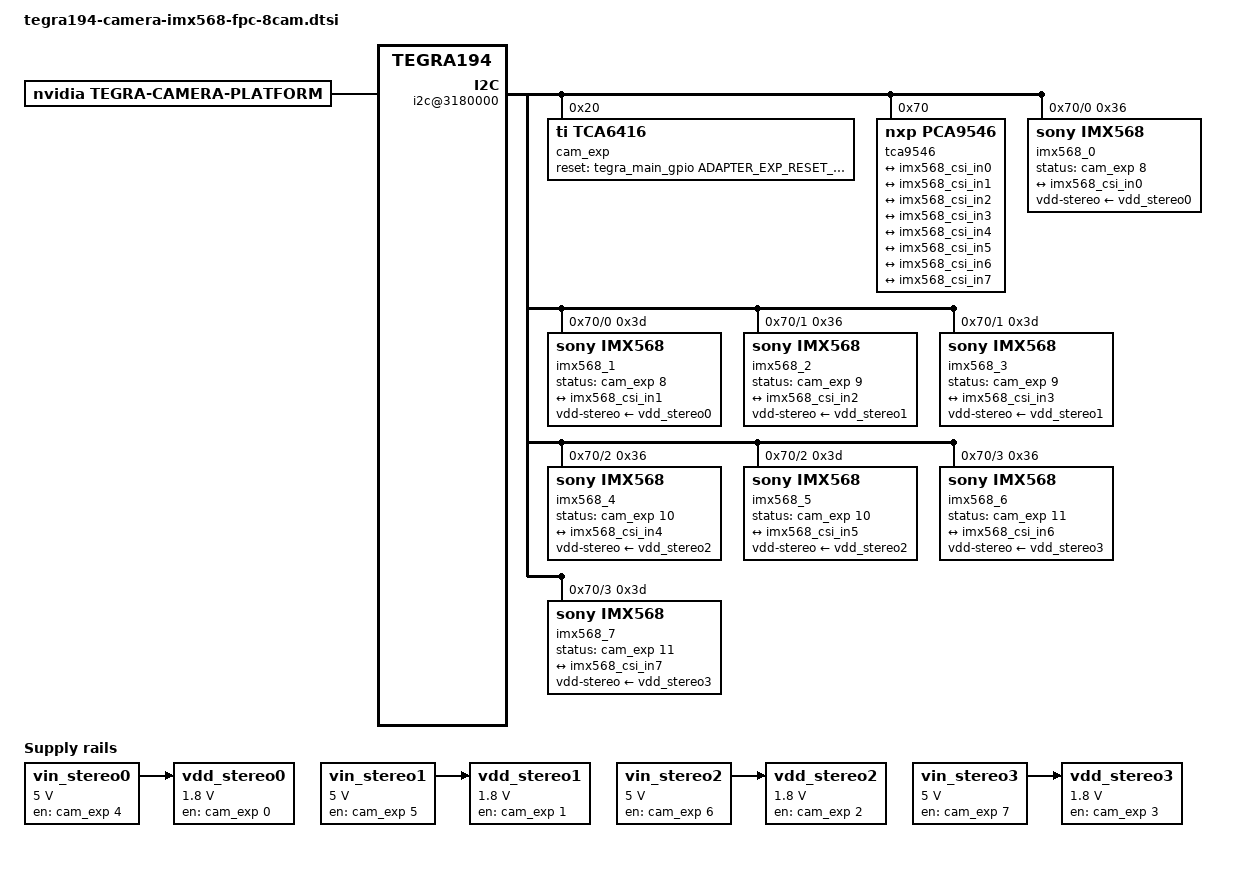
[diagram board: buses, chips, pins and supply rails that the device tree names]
/*
 * tegra194-camera-imx568-fpc-8cam.dtsi  -- GENERATED by gen_dtsi_fpc.py
 *
 * 8 x IMX568 = 4 stereo boards on FPC, Jetson AGX Xavier (L4T R35.x).
 * Include from your board .dts (e.g. tegra194-p2888-0001-p2822-0000.dts):
 *     #include "tegra194-camera-imx568-fpc-8cam.dtsi"
 * and disable other camera overlays that use i2c@3180000 / nvcsi.
 */
#include <dt-bindings/gpio/gpio.h>
#include <dt-bindings/gpio/tegra194-gpio.h>

/* Xavier GPIO on connector pin 92 (CAM1_RST) -> TCA6416A RESET#.
 * VERIFY the Tegra GPIO behind CAM1_RST in the devkit carrier spec / pinmux. */
#ifndef ADAPTER_EXP_RESET_GPIO
#define ADAPTER_EXP_RESET_GPIO TEGRA194_MAIN_GPIO(H, 6)
#endif

/ {
	vin_stereo0: regulator-vin-stereo0 {	/* 5 V to FPC 0: FPGA + board supplies */
		compatible = "regulator-fixed";
		regulator-name = "vin-stereo0";
		regulator-min-microvolt = <5000000>;
		regulator-max-microvolt = <5000000>;
		gpio = <&cam_exp 4 GPIO_ACTIVE_HIGH>;	/* TCA6416A P04 */
		enable-active-high;
		regulator-boot-on;
		regulator-always-on;			/* FPGA stays configured */
		startup-delay-us = <50000>;		/* FPGA config from SPI flash */
	};

	vdd_stereo0: regulator-vdd-stereo0 {	/* PWR_EN: FPGA sequences both sensors */
		compatible = "regulator-fixed";
		regulator-name = "vdd-stereo0";
		regulator-min-microvolt = <1800000>;
		regulator-max-microvolt = <1800000>;
		gpio = <&cam_exp 0 GPIO_ACTIVE_HIGH>;	/* TCA6416A P00 */
		enable-active-high;
		vin-supply = <&vin_stereo0>;
		startup-delay-us = <25000>;		/* 3 x 2 ms rails + 5 ms + XCLR/INCK + margin */
		off-on-delay-us = <20000>;		/* ordered power-down (stereo_ctrl.v) */
	};
	vin_stereo1: regulator-vin-stereo1 {	/* 5 V to FPC 1: FPGA + board supplies */
		compatible = "regulator-fixed";
		regulator-name = "vin-stereo1";
		regulator-min-microvolt = <5000000>;
		regulator-max-microvolt = <5000000>;
		gpio = <&cam_exp 5 GPIO_ACTIVE_HIGH>;	/* TCA6416A P05 */
		enable-active-high;
		regulator-boot-on;
		regulator-always-on;			/* FPGA stays configured */
		startup-delay-us = <50000>;		/* FPGA config from SPI flash */
	};

	vdd_stereo1: regulator-vdd-stereo1 {	/* PWR_EN: FPGA sequences both sensors */
		compatible = "regulator-fixed";
		regulator-name = "vdd-stereo1";
		regulator-min-microvolt = <1800000>;
		regulator-max-microvolt = <1800000>;
		gpio = <&cam_exp 1 GPIO_ACTIVE_HIGH>;	/* TCA6416A P01 */
		enable-active-high;
		vin-supply = <&vin_stereo1>;
		startup-delay-us = <25000>;		/* 3 x 2 ms rails + 5 ms + XCLR/INCK + margin */
		off-on-delay-us = <20000>;		/* ordered power-down (stereo_ctrl.v) */
	};
	vin_stereo2: regulator-vin-stereo2 {	/* 5 V to FPC 2: FPGA + board supplies */
		compatible = "regulator-fixed";
		regulator-name = "vin-stereo2";
		regulator-min-microvolt = <5000000>;
		regulator-max-microvolt = <5000000>;
		gpio = <&cam_exp 6 GPIO_ACTIVE_HIGH>;	/* TCA6416A P06 */
		enable-active-high;
		regulator-boot-on;
		regulator-always-on;			/* FPGA stays configured */
		startup-delay-us = <50000>;		/* FPGA config from SPI flash */
	};

	vdd_stereo2: regulator-vdd-stereo2 {	/* PWR_EN: FPGA sequences both sensors */
		compatible = "regulator-fixed";
		regulator-name = "vdd-stereo2";
		regulator-min-microvolt = <1800000>;
		regulator-max-microvolt = <1800000>;
		gpio = <&cam_exp 2 GPIO_ACTIVE_HIGH>;	/* TCA6416A P02 */
		enable-active-high;
		vin-supply = <&vin_stereo2>;
		startup-delay-us = <25000>;		/* 3 x 2 ms rails + 5 ms + XCLR/INCK + margin */
		off-on-delay-us = <20000>;		/* ordered power-down (stereo_ctrl.v) */
	};
	vin_stereo3: regulator-vin-stereo3 {	/* 5 V to FPC 3: FPGA + board supplies */
		compatible = "regulator-fixed";
		regulator-name = "vin-stereo3";
		regulator-min-microvolt = <5000000>;
		regulator-max-microvolt = <5000000>;
		gpio = <&cam_exp 7 GPIO_ACTIVE_HIGH>;	/* TCA6416A P07 */
		enable-active-high;
		regulator-boot-on;
		regulator-always-on;			/* FPGA stays configured */
		startup-delay-us = <50000>;		/* FPGA config from SPI flash */
	};

	vdd_stereo3: regulator-vdd-stereo3 {	/* PWR_EN: FPGA sequences both sensors */
		compatible = "regulator-fixed";
		regulator-name = "vdd-stereo3";
		regulator-min-microvolt = <1800000>;
		regulator-max-microvolt = <1800000>;
		gpio = <&cam_exp 3 GPIO_ACTIVE_HIGH>;	/* TCA6416A P03 */
		enable-active-high;
		vin-supply = <&vin_stereo3>;
		startup-delay-us = <25000>;		/* 3 x 2 ms rails + 5 ms + XCLR/INCK + margin */
		off-on-delay-us = <20000>;		/* ordered power-down (stereo_ctrl.v) */
	};

	tegra-capture-vi {
		num-channels = <8>;
		ports {
			#address-cells = <1>;
			#size-cells = <0>;
			port@0 {
				reg = <0>;
				imx568_vi_in0: endpoint {
					vc-id = <0>;
					port-index = <0>;
					bus-width = <4>;
					remote-endpoint = <&imx568_csi_out0>;
				};
			};
			port@1 {
				reg = <1>;
				imx568_vi_in1: endpoint {
					vc-id = <1>;
					port-index = <0>;
					bus-width = <4>;
					remote-endpoint = <&imx568_csi_out1>;
				};
			};
			port@2 {
				reg = <2>;
				imx568_vi_in2: endpoint {
					vc-id = <0>;
					port-index = <2>;
					bus-width = <4>;
					remote-endpoint = <&imx568_csi_out2>;
				};
			};
			port@3 {
				reg = <3>;
				imx568_vi_in3: endpoint {
					vc-id = <1>;
					port-index = <2>;
					bus-width = <4>;
					remote-endpoint = <&imx568_csi_out3>;
				};
			};
			port@4 {
				reg = <4>;
				imx568_vi_in4: endpoint {
					vc-id = <0>;
					port-index = <4>;
					bus-width = <4>;
					remote-endpoint = <&imx568_csi_out4>;
				};
			};
			port@5 {
				reg = <5>;
				imx568_vi_in5: endpoint {
					vc-id = <1>;
					port-index = <4>;
					bus-width = <4>;
					remote-endpoint = <&imx568_csi_out5>;
				};
			};
			port@6 {
				reg = <6>;
				imx568_vi_in6: endpoint {
					vc-id = <0>;
					port-index = <5>;
					bus-width = <4>;
					remote-endpoint = <&imx568_csi_out6>;
				};
			};
			port@7 {
				reg = <7>;
				imx568_vi_in7: endpoint {
					vc-id = <1>;
					port-index = <5>;
					bus-width = <4>;
					remote-endpoint = <&imx568_csi_out7>;
				};
			};
		};
	};

	host1x@13e00000 {
		nvcsi@15a00000 {
			num-channels = <8>;
			#address-cells = <1>;
			#size-cells = <0>;
			channel@0 {
				reg = <0>;
				ports {
					#address-cells = <1>;
					#size-cells = <0>;
					port@0 {
						reg = <0>;
						imx568_csi_in0: endpoint@0 {
							port-index = <0>;
							bus-width = <4>;
							remote-endpoint = <&imx568_out0>;
						};
					};
					port@1 {
						reg = <1>;
						imx568_csi_out0: endpoint@1 {
							remote-endpoint = <&imx568_vi_in0>;
						};
					};
				};
			};
			channel@1 {
				reg = <1>;
				ports {
					#address-cells = <1>;
					#size-cells = <0>;
					port@0 {
						reg = <0>;
						imx568_csi_in1: endpoint@2 {
							port-index = <0>;
							bus-width = <4>;
							remote-endpoint = <&imx568_out1>;
						};
					};
					port@1 {
						reg = <1>;
						imx568_csi_out1: endpoint@3 {
							remote-endpoint = <&imx568_vi_in1>;
						};
					};
				};
			};
			channel@2 {
				reg = <2>;
				ports {
					#address-cells = <1>;
					#size-cells = <0>;
					port@0 {
						reg = <0>;
						imx568_csi_in2: endpoint@4 {
							port-index = <2>;
							bus-width = <4>;
							remote-endpoint = <&imx568_out2>;
						};
					};
					port@1 {
						reg = <1>;
						imx568_csi_out2: endpoint@5 {
							remote-endpoint = <&imx568_vi_in2>;
						};
					};
				};
			};
			channel@3 {
				reg = <3>;
				ports {
					#address-cells = <1>;
					#size-cells = <0>;
					port@0 {
						reg = <0>;
						imx568_csi_in3: endpoint@6 {
							port-index = <2>;
							bus-width = <4>;
							remote-endpoint = <&imx568_out3>;
						};
					};
					port@1 {
						reg = <1>;
						imx568_csi_out3: endpoint@7 {
							remote-endpoint = <&imx568_vi_in3>;
						};
					};
				};
			};
			channel@4 {
				reg = <4>;
				ports {
					#address-cells = <1>;
					#size-cells = <0>;
					port@0 {
						reg = <0>;
						imx568_csi_in4: endpoint@8 {
							port-index = <4>;
							bus-width = <4>;
							remote-endpoint = <&imx568_out4>;
						};
					};
					port@1 {
						reg = <1>;
						imx568_csi_out4: endpoint@9 {
							remote-endpoint = <&imx568_vi_in4>;
						};
					};
				};
			};
			channel@5 {
				reg = <5>;
				ports {
					#address-cells = <1>;
					#size-cells = <0>;
					port@0 {
						reg = <0>;
						imx568_csi_in5: endpoint@10 {
							port-index = <4>;
							bus-width = <4>;
							remote-endpoint = <&imx568_out5>;
						};
					};
					port@1 {
						reg = <1>;
						imx568_csi_out5: endpoint@11 {
							remote-endpoint = <&imx568_vi_in5>;
						};
					};
				};
			};
			channel@6 {
				reg = <6>;
				ports {
					#address-cells = <1>;
					#size-cells = <0>;
					port@0 {
						reg = <0>;
						imx568_csi_in6: endpoint@12 {
							port-index = <6>;
							bus-width = <4>;
							remote-endpoint = <&imx568_out6>;
						};
					};
					port@1 {
						reg = <1>;
						imx568_csi_out6: endpoint@13 {
							remote-endpoint = <&imx568_vi_in6>;
						};
					};
				};
			};
			channel@7 {
				reg = <7>;
				ports {
					#address-cells = <1>;
					#size-cells = <0>;
					port@0 {
						reg = <0>;
						imx568_csi_in7: endpoint@14 {
							port-index = <6>;
							bus-width = <4>;
							remote-endpoint = <&imx568_out7>;
						};
					};
					port@1 {
						reg = <1>;
						imx568_csi_out7: endpoint@15 {
							remote-endpoint = <&imx568_vi_in7>;
						};
					};
				};
			};
		};
	};

	i2c@3180000 {			/* I2C_GP3 on the camera connector (pins 75/77) */
		cam_exp: gpio@20 {
			compatible = "ti,tca6416";
			reg = <0x20>;
			gpio-controller;
			#gpio-cells = <2>;
			reset-gpios = <&tegra_main_gpio ADAPTER_EXP_RESET_GPIO GPIO_ACTIVE_LOW>;
		};

		tca9546@70 {
			compatible = "nxp,pca9546";
			reg = <0x70>;
			#address-cells = <1>;
			#size-cells = <0>;
			skip_mux_detect = "yes";
			force_bus_start = <30>;	/* mux channels become i2c-30..33 */

		i2c@0 {	/* FPC 0: stereo 0 (front) */
			reg = <0>;
			i2c-mux,deselect-on-exit;
			#address-cells = <1>;
			#size-cells = <0>;

			imx568_0: imx568_l@36 {	/* stereo 0 left */
				compatible = "sony,imx568";
				reg = <0x36>;		/* SLAMODE = 0 (DS 14.4); never use 0x1a here */
				devnode = "video0";
				physical_w = "6.708";
				physical_h = "5.612";
				sensor_model = "imx568";
				use_sensor_mode_id = "true";
				post_crop_frame_drop = "0";
				vdd-stereo-supply = <&vdd_stereo0>;	/* shared with the other sensor */
				status-gpios = <&cam_exp 8 GPIO_ACTIVE_HIGH>;	/* TCA6416A P10 */
				imx568,ready-timeout-ms = <200>;
				imx568,sync-mode = "fast-trigger";	/* or "master" for bring-up */

				mode0 {	/* 1224x1024 RAW12 (mono, read as Y12) */
					mclk_khz = "74250";
					num_lanes = "4";
					tegra_sinterface = "serial_a";
					vc_id = "0";
					discontinuous_clk = "no";
					dpcm_enable = "false";
					cil_settletime = "0";
					dynamic_pixel_bit_depth = "12";
					csi_pixel_bit_depth = "12";
					mode_type = "bayer";
					pixel_phase = "rggb";	/* mono sensor: no CFA, ISP not used */
					active_w = "1224";
					active_h = "1024";
					readout_orientation = "0";
					line_length = "2400";	/* 4 x HMAX: 1H = line_length / pix_clk_hz */
					inherent_gain = "1";
					pix_clk_hz = "297000000";	/* 4 x 74.25 MHz, >= peak pixel rate */
					gain_factor = "10";
					min_gain_val = "0";
					max_gain_val = "480";	/* 48.0 dB */
					step_gain_val = "1";
					default_gain = "0";
					min_hdr_ratio = "1";
					max_hdr_ratio = "1";
					framerate_factor = "1000000";
					min_framerate = "1000000";
					max_framerate = "60000000";
					step_framerate = "1";
					default_framerate = "30000000";
					exposure_factor = "1000000";
					min_exp_time = "10";
					max_exp_time = "15000";
					step_exp_time = "1";
					default_exp_time = "5000";
					embedded_metadata_height = "0";
				};
				mode1 {	/* 2448x2048 RAW12 (mono, read as Y12) */
					mclk_khz = "74250";
					num_lanes = "4";
					tegra_sinterface = "serial_a";
					vc_id = "0";
					discontinuous_clk = "no";
					dpcm_enable = "false";
					cil_settletime = "0";
					dynamic_pixel_bit_depth = "12";
					csi_pixel_bit_depth = "12";
					mode_type = "bayer";
					pixel_phase = "rggb";	/* mono sensor: no CFA, ISP not used */
					active_w = "2448";
					active_h = "2048";
					readout_orientation = "0";
					line_length = "4400";	/* 4 x HMAX: 1H = line_length / pix_clk_hz */
					inherent_gain = "1";
					pix_clk_hz = "297000000";	/* 4 x 74.25 MHz, >= peak pixel rate */
					gain_factor = "10";
					min_gain_val = "0";
					max_gain_val = "480";	/* 48.0 dB */
					step_gain_val = "1";
					default_gain = "0";
					min_hdr_ratio = "1";
					max_hdr_ratio = "1";
					framerate_factor = "1000000";
					min_framerate = "1000000";
					max_framerate = "30000000";
					step_framerate = "1";
					default_framerate = "30000000";
					exposure_factor = "1000000";
					min_exp_time = "10";
					max_exp_time = "30000";
					step_exp_time = "1";
					default_exp_time = "5000";
					embedded_metadata_height = "0";
				};

				ports {
					#address-cells = <1>;
					#size-cells = <0>;
					port@0 {
						reg = <0>;
						imx568_out0: endpoint {
							vc-id = <0>;		/* set by the FPGA aggregator */
							port-index = <0>;
							bus-width = <4>;
							remote-endpoint = <&imx568_csi_in0>;
						};
					};
				};
			};

			imx568_1: imx568_r@3d {	/* stereo 0 right */
				compatible = "sony,imx568";
				reg = <0x3d>;		/* SLAMODE = 7 (DS 14.4); never use 0x1a here */
				devnode = "video1";
				physical_w = "6.708";
				physical_h = "5.612";
				sensor_model = "imx568";
				use_sensor_mode_id = "true";
				post_crop_frame_drop = "0";
				vdd-stereo-supply = <&vdd_stereo0>;	/* shared with the other sensor */
				status-gpios = <&cam_exp 8 GPIO_ACTIVE_HIGH>;	/* TCA6416A P10 */
				imx568,ready-timeout-ms = <200>;
				imx568,sync-mode = "fast-trigger";	/* or "master" for bring-up */

				mode0 {	/* 1224x1024 RAW12 (mono, read as Y12) */
					mclk_khz = "74250";
					num_lanes = "4";
					tegra_sinterface = "serial_a";
					vc_id = "1";
					discontinuous_clk = "no";
					dpcm_enable = "false";
					cil_settletime = "0";
					dynamic_pixel_bit_depth = "12";
					csi_pixel_bit_depth = "12";
					mode_type = "bayer";
					pixel_phase = "rggb";	/* mono sensor: no CFA, ISP not used */
					active_w = "1224";
					active_h = "1024";
					readout_orientation = "0";
					line_length = "2400";	/* 4 x HMAX: 1H = line_length / pix_clk_hz */
					inherent_gain = "1";
					pix_clk_hz = "297000000";	/* 4 x 74.25 MHz, >= peak pixel rate */
					gain_factor = "10";
					min_gain_val = "0";
					max_gain_val = "480";	/* 48.0 dB */
					step_gain_val = "1";
					default_gain = "0";
					min_hdr_ratio = "1";
					max_hdr_ratio = "1";
					framerate_factor = "1000000";
					min_framerate = "1000000";
					max_framerate = "60000000";
					step_framerate = "1";
					default_framerate = "30000000";
					exposure_factor = "1000000";
					min_exp_time = "10";
					max_exp_time = "15000";
					step_exp_time = "1";
					default_exp_time = "5000";
					embedded_metadata_height = "0";
				};
				mode1 {	/* 2448x2048 RAW12 (mono, read as Y12) */
					mclk_khz = "74250";
					num_lanes = "4";
					tegra_sinterface = "serial_a";
					vc_id = "1";
					discontinuous_clk = "no";
					dpcm_enable = "false";
					cil_settletime = "0";
					dynamic_pixel_bit_depth = "12";
					csi_pixel_bit_depth = "12";
					mode_type = "bayer";
					pixel_phase = "rggb";	/* mono sensor: no CFA, ISP not used */
					active_w = "2448";
					active_h = "2048";
					readout_orientation = "0";
					line_length = "4400";	/* 4 x HMAX: 1H = line_length / pix_clk_hz */
					inherent_gain = "1";
					pix_clk_hz = "297000000";	/* 4 x 74.25 MHz, >= peak pixel rate */
					gain_factor = "10";
					min_gain_val = "0";
					max_gain_val = "480";	/* 48.0 dB */
					step_gain_val = "1";
					default_gain = "0";
					min_hdr_ratio = "1";
					max_hdr_ratio = "1";
					framerate_factor = "1000000";
					min_framerate = "1000000";
					max_framerate = "30000000";
					step_framerate = "1";
					default_framerate = "30000000";
					exposure_factor = "1000000";
					min_exp_time = "10";
					max_exp_time = "30000";
					step_exp_time = "1";
					default_exp_time = "5000";
					embedded_metadata_height = "0";
				};

				ports {
					#address-cells = <1>;
					#size-cells = <0>;
					port@0 {
						reg = <0>;
						imx568_out1: endpoint {
							vc-id = <1>;		/* set by the FPGA aggregator */
							port-index = <0>;
							bus-width = <4>;
							remote-endpoint = <&imx568_csi_in1>;
						};
					};
				};
			};
		};
		i2c@1 {	/* FPC 1: stereo 1 (rear) */
			reg = <1>;
			i2c-mux,deselect-on-exit;
			#address-cells = <1>;
			#size-cells = <0>;

			imx568_2: imx568_l@36 {	/* stereo 1 left */
				compatible = "sony,imx568";
				reg = <0x36>;		/* SLAMODE = 0 (DS 14.4); never use 0x1a here */
				devnode = "video2";
				physical_w = "6.708";
				physical_h = "5.612";
				sensor_model = "imx568";
				use_sensor_mode_id = "true";
				post_crop_frame_drop = "0";
				vdd-stereo-supply = <&vdd_stereo1>;	/* shared with the other sensor */
				status-gpios = <&cam_exp 9 GPIO_ACTIVE_HIGH>;	/* TCA6416A P11 */
				imx568,ready-timeout-ms = <200>;
				imx568,sync-mode = "fast-trigger";	/* or "master" for bring-up */

				mode0 {	/* 1224x1024 RAW12 (mono, read as Y12) */
					mclk_khz = "74250";
					num_lanes = "4";
					tegra_sinterface = "serial_c";
					vc_id = "0";
					discontinuous_clk = "no";
					dpcm_enable = "false";
					cil_settletime = "0";
					dynamic_pixel_bit_depth = "12";
					csi_pixel_bit_depth = "12";
					mode_type = "bayer";
					pixel_phase = "rggb";	/* mono sensor: no CFA, ISP not used */
					active_w = "1224";
					active_h = "1024";
					readout_orientation = "0";
					line_length = "2400";	/* 4 x HMAX: 1H = line_length / pix_clk_hz */
					inherent_gain = "1";
					pix_clk_hz = "297000000";	/* 4 x 74.25 MHz, >= peak pixel rate */
					gain_factor = "10";
					min_gain_val = "0";
					max_gain_val = "480";	/* 48.0 dB */
					step_gain_val = "1";
					default_gain = "0";
					min_hdr_ratio = "1";
					max_hdr_ratio = "1";
					framerate_factor = "1000000";
					min_framerate = "1000000";
					max_framerate = "60000000";
					step_framerate = "1";
					default_framerate = "30000000";
					exposure_factor = "1000000";
					min_exp_time = "10";
					max_exp_time = "15000";
					step_exp_time = "1";
					default_exp_time = "5000";
					embedded_metadata_height = "0";
				};
				mode1 {	/* 2448x2048 RAW12 (mono, read as Y12) */
					mclk_khz = "74250";
					num_lanes = "4";
					tegra_sinterface = "serial_c";
					vc_id = "0";
					discontinuous_clk = "no";
					dpcm_enable = "false";
					cil_settletime = "0";
					dynamic_pixel_bit_depth = "12";
					csi_pixel_bit_depth = "12";
					mode_type = "bayer";
					pixel_phase = "rggb";	/* mono sensor: no CFA, ISP not used */
					active_w = "2448";
					active_h = "2048";
					readout_orientation = "0";
					line_length = "4400";	/* 4 x HMAX: 1H = line_length / pix_clk_hz */
					inherent_gain = "1";
					pix_clk_hz = "297000000";	/* 4 x 74.25 MHz, >= peak pixel rate */
					gain_factor = "10";
					min_gain_val = "0";
					max_gain_val = "480";	/* 48.0 dB */
					step_gain_val = "1";
					default_gain = "0";
					min_hdr_ratio = "1";
					max_hdr_ratio = "1";
					framerate_factor = "1000000";
					min_framerate = "1000000";
					max_framerate = "30000000";
					step_framerate = "1";
					default_framerate = "30000000";
					exposure_factor = "1000000";
					min_exp_time = "10";
					max_exp_time = "30000";
					step_exp_time = "1";
					default_exp_time = "5000";
					embedded_metadata_height = "0";
				};

				ports {
					#address-cells = <1>;
					#size-cells = <0>;
					port@0 {
						reg = <0>;
						imx568_out2: endpoint {
							vc-id = <0>;		/* set by the FPGA aggregator */
							port-index = <2>;
							bus-width = <4>;
							remote-endpoint = <&imx568_csi_in2>;
						};
					};
				};
			};

			imx568_3: imx568_r@3d {	/* stereo 1 right */
				compatible = "sony,imx568";
				reg = <0x3d>;		/* SLAMODE = 7 (DS 14.4); never use 0x1a here */
				devnode = "video3";
				physical_w = "6.708";
				physical_h = "5.612";
				sensor_model = "imx568";
				use_sensor_mode_id = "true";
				post_crop_frame_drop = "0";
				vdd-stereo-supply = <&vdd_stereo1>;	/* shared with the other sensor */
				status-gpios = <&cam_exp 9 GPIO_ACTIVE_HIGH>;	/* TCA6416A P11 */
				imx568,ready-timeout-ms = <200>;
				imx568,sync-mode = "fast-trigger";	/* or "master" for bring-up */

				mode0 {	/* 1224x1024 RAW12 (mono, read as Y12) */
					mclk_khz = "74250";
					num_lanes = "4";
					tegra_sinterface = "serial_c";
					vc_id = "1";
					discontinuous_clk = "no";
					dpcm_enable = "false";
					cil_settletime = "0";
					dynamic_pixel_bit_depth = "12";
					csi_pixel_bit_depth = "12";
					mode_type = "bayer";
					pixel_phase = "rggb";	/* mono sensor: no CFA, ISP not used */
					active_w = "1224";
					active_h = "1024";
					readout_orientation = "0";
					line_length = "2400";	/* 4 x HMAX: 1H = line_length / pix_clk_hz */
					inherent_gain = "1";
					pix_clk_hz = "297000000";	/* 4 x 74.25 MHz, >= peak pixel rate */
					gain_factor = "10";
					min_gain_val = "0";
					max_gain_val = "480";	/* 48.0 dB */
					step_gain_val = "1";
					default_gain = "0";
					min_hdr_ratio = "1";
					max_hdr_ratio = "1";
					framerate_factor = "1000000";
					min_framerate = "1000000";
					max_framerate = "60000000";
					step_framerate = "1";
					default_framerate = "30000000";
					exposure_factor = "1000000";
					min_exp_time = "10";
					max_exp_time = "15000";
					step_exp_time = "1";
					default_exp_time = "5000";
					embedded_metadata_height = "0";
				};
				mode1 {	/* 2448x2048 RAW12 (mono, read as Y12) */
					mclk_khz = "74250";
					num_lanes = "4";
					tegra_sinterface = "serial_c";
					vc_id = "1";
					discontinuous_clk = "no";
					dpcm_enable = "false";
					cil_settletime = "0";
					dynamic_pixel_bit_depth = "12";
					csi_pixel_bit_depth = "12";
					mode_type = "bayer";
					pixel_phase = "rggb";	/* mono sensor: no CFA, ISP not used */
					active_w = "2448";
					active_h = "2048";
					readout_orientation = "0";
					line_length = "4400";	/* 4 x HMAX: 1H = line_length / pix_clk_hz */
					inherent_gain = "1";
					pix_clk_hz = "297000000";	/* 4 x 74.25 MHz, >= peak pixel rate */
					gain_factor = "10";
					min_gain_val = "0";
					max_gain_val = "480";	/* 48.0 dB */
					step_gain_val = "1";
					default_gain = "0";
					min_hdr_ratio = "1";
					max_hdr_ratio = "1";
					framerate_factor = "1000000";
					min_framerate = "1000000";
					max_framerate = "30000000";
					step_framerate = "1";
					default_framerate = "30000000";
					exposure_factor = "1000000";
					min_exp_time = "10";
					max_exp_time = "30000";
					step_exp_time = "1";
					default_exp_time = "5000";
					embedded_metadata_height = "0";
				};

				ports {
					#address-cells = <1>;
					#size-cells = <0>;
					port@0 {
						reg = <0>;
						imx568_out3: endpoint {
							vc-id = <1>;		/* set by the FPGA aggregator */
							port-index = <2>;
							bus-width = <4>;
							remote-endpoint = <&imx568_csi_in3>;
						};
					};
				};
			};
		};
		i2c@2 {	/* FPC 2: stereo 2 (left) */
			reg = <2>;
			i2c-mux,deselect-on-exit;
			#address-cells = <1>;
			#size-cells = <0>;

			imx568_4: imx568_l@36 {	/* stereo 2 left */
				compatible = "sony,imx568";
				reg = <0x36>;		/* SLAMODE = 0 (DS 14.4); never use 0x1a here */
				devnode = "video4";
				physical_w = "6.708";
				physical_h = "5.612";
				sensor_model = "imx568";
				use_sensor_mode_id = "true";
				post_crop_frame_drop = "0";
				vdd-stereo-supply = <&vdd_stereo2>;	/* shared with the other sensor */
				status-gpios = <&cam_exp 10 GPIO_ACTIVE_HIGH>;	/* TCA6416A P12 */
				imx568,ready-timeout-ms = <200>;
				imx568,sync-mode = "fast-trigger";	/* or "master" for bring-up */

				mode0 {	/* 1224x1024 RAW12 (mono, read as Y12) */
					mclk_khz = "74250";
					num_lanes = "4";
					tegra_sinterface = "serial_e";
					vc_id = "0";
					discontinuous_clk = "no";
					dpcm_enable = "false";
					cil_settletime = "0";
					dynamic_pixel_bit_depth = "12";
					csi_pixel_bit_depth = "12";
					mode_type = "bayer";
					pixel_phase = "rggb";	/* mono sensor: no CFA, ISP not used */
					active_w = "1224";
					active_h = "1024";
					readout_orientation = "0";
					line_length = "2400";	/* 4 x HMAX: 1H = line_length / pix_clk_hz */
					inherent_gain = "1";
					pix_clk_hz = "297000000";	/* 4 x 74.25 MHz, >= peak pixel rate */
					gain_factor = "10";
					min_gain_val = "0";
					max_gain_val = "480";	/* 48.0 dB */
					step_gain_val = "1";
					default_gain = "0";
					min_hdr_ratio = "1";
					max_hdr_ratio = "1";
					framerate_factor = "1000000";
					min_framerate = "1000000";
					max_framerate = "60000000";
					step_framerate = "1";
					default_framerate = "30000000";
					exposure_factor = "1000000";
					min_exp_time = "10";
					max_exp_time = "15000";
					step_exp_time = "1";
					default_exp_time = "5000";
					embedded_metadata_height = "0";
				};
				mode1 {	/* 2448x2048 RAW12 (mono, read as Y12) */
					mclk_khz = "74250";
					num_lanes = "4";
					tegra_sinterface = "serial_e";
					vc_id = "0";
					discontinuous_clk = "no";
					dpcm_enable = "false";
					cil_settletime = "0";
					dynamic_pixel_bit_depth = "12";
					csi_pixel_bit_depth = "12";
					mode_type = "bayer";
					pixel_phase = "rggb";	/* mono sensor: no CFA, ISP not used */
					active_w = "2448";
					active_h = "2048";
					readout_orientation = "0";
					line_length = "4400";	/* 4 x HMAX: 1H = line_length / pix_clk_hz */
					inherent_gain = "1";
					pix_clk_hz = "297000000";	/* 4 x 74.25 MHz, >= peak pixel rate */
					gain_factor = "10";
					min_gain_val = "0";
					max_gain_val = "480";	/* 48.0 dB */
					step_gain_val = "1";
					default_gain = "0";
					min_hdr_ratio = "1";
					max_hdr_ratio = "1";
					framerate_factor = "1000000";
					min_framerate = "1000000";
					max_framerate = "30000000";
					step_framerate = "1";
					default_framerate = "30000000";
					exposure_factor = "1000000";
					min_exp_time = "10";
					max_exp_time = "30000";
					step_exp_time = "1";
					default_exp_time = "5000";
					embedded_metadata_height = "0";
				};

				ports {
					#address-cells = <1>;
					#size-cells = <0>;
					port@0 {
						reg = <0>;
						imx568_out4: endpoint {
							vc-id = <0>;		/* set by the FPGA aggregator */
							port-index = <4>;
							bus-width = <4>;
							remote-endpoint = <&imx568_csi_in4>;
						};
					};
				};
			};

			imx568_5: imx568_r@3d {	/* stereo 2 right */
				compatible = "sony,imx568";
				reg = <0x3d>;		/* SLAMODE = 7 (DS 14.4); never use 0x1a here */
				devnode = "video5";
				physical_w = "6.708";
				physical_h = "5.612";
				sensor_model = "imx568";
				use_sensor_mode_id = "true";
				post_crop_frame_drop = "0";
				vdd-stereo-supply = <&vdd_stereo2>;	/* shared with the other sensor */
				status-gpios = <&cam_exp 10 GPIO_ACTIVE_HIGH>;	/* TCA6416A P12 */
				imx568,ready-timeout-ms = <200>;
				imx568,sync-mode = "fast-trigger";	/* or "master" for bring-up */

				mode0 {	/* 1224x1024 RAW12 (mono, read as Y12) */
					mclk_khz = "74250";
					num_lanes = "4";
					tegra_sinterface = "serial_e";
					vc_id = "1";
					discontinuous_clk = "no";
					dpcm_enable = "false";
					cil_settletime = "0";
					dynamic_pixel_bit_depth = "12";
					csi_pixel_bit_depth = "12";
					mode_type = "bayer";
					pixel_phase = "rggb";	/* mono sensor: no CFA, ISP not used */
					active_w = "1224";
					active_h = "1024";
					readout_orientation = "0";
					line_length = "2400";	/* 4 x HMAX: 1H = line_length / pix_clk_hz */
					inherent_gain = "1";
					pix_clk_hz = "297000000";	/* 4 x 74.25 MHz, >= peak pixel rate */
					gain_factor = "10";
					min_gain_val = "0";
					max_gain_val = "480";	/* 48.0 dB */
					step_gain_val = "1";
					default_gain = "0";
					min_hdr_ratio = "1";
					max_hdr_ratio = "1";
					framerate_factor = "1000000";
					min_framerate = "1000000";
					max_framerate = "60000000";
					step_framerate = "1";
					default_framerate = "30000000";
					exposure_factor = "1000000";
					min_exp_time = "10";
					max_exp_time = "15000";
					step_exp_time = "1";
					default_exp_time = "5000";
					embedded_metadata_height = "0";
				};
				mode1 {	/* 2448x2048 RAW12 (mono, read as Y12) */
					mclk_khz = "74250";
					num_lanes = "4";
					tegra_sinterface = "serial_e";
					vc_id = "1";
					discontinuous_clk = "no";
					dpcm_enable = "false";
					cil_settletime = "0";
					dynamic_pixel_bit_depth = "12";
					csi_pixel_bit_depth = "12";
					mode_type = "bayer";
					pixel_phase = "rggb";	/* mono sensor: no CFA, ISP not used */
					active_w = "2448";
					active_h = "2048";
					readout_orientation = "0";
					line_length = "4400";	/* 4 x HMAX: 1H = line_length / pix_clk_hz */
					inherent_gain = "1";
					pix_clk_hz = "297000000";	/* 4 x 74.25 MHz, >= peak pixel rate */
					gain_factor = "10";
					min_gain_val = "0";
					max_gain_val = "480";	/* 48.0 dB */
					step_gain_val = "1";
					default_gain = "0";
					min_hdr_ratio = "1";
					max_hdr_ratio = "1";
					framerate_factor = "1000000";
					min_framerate = "1000000";
					max_framerate = "30000000";
					step_framerate = "1";
					default_framerate = "30000000";
					exposure_factor = "1000000";
					min_exp_time = "10";
					max_exp_time = "30000";
					step_exp_time = "1";
					default_exp_time = "5000";
					embedded_metadata_height = "0";
				};

				ports {
					#address-cells = <1>;
					#size-cells = <0>;
					port@0 {
						reg = <0>;
						imx568_out5: endpoint {
							vc-id = <1>;		/* set by the FPGA aggregator */
							port-index = <4>;
							bus-width = <4>;
							remote-endpoint = <&imx568_csi_in5>;
						};
					};
				};
			};
		};
		i2c@3 {	/* FPC 3: stereo 3 (right) */
			reg = <3>;
			i2c-mux,deselect-on-exit;
			#address-cells = <1>;
			#size-cells = <0>;

			imx568_6: imx568_l@36 {	/* stereo 3 left */
				compatible = "sony,imx568";
				reg = <0x36>;		/* SLAMODE = 0 (DS 14.4); never use 0x1a here */
				devnode = "video6";
				physical_w = "6.708";
				physical_h = "5.612";
				sensor_model = "imx568";
				use_sensor_mode_id = "true";
				post_crop_frame_drop = "0";
				vdd-stereo-supply = <&vdd_stereo3>;	/* shared with the other sensor */
				status-gpios = <&cam_exp 11 GPIO_ACTIVE_HIGH>;	/* TCA6416A P13 */
				imx568,ready-timeout-ms = <200>;
				imx568,sync-mode = "fast-trigger";	/* or "master" for bring-up */

				mode0 {	/* 1224x1024 RAW12 (mono, read as Y12) */
					mclk_khz = "74250";
					num_lanes = "4";
					tegra_sinterface = "serial_g";
					vc_id = "0";
					discontinuous_clk = "no";
					dpcm_enable = "false";
					cil_settletime = "0";
					dynamic_pixel_bit_depth = "12";
					csi_pixel_bit_depth = "12";
					mode_type = "bayer";
					pixel_phase = "rggb";	/* mono sensor: no CFA, ISP not used */
					active_w = "1224";
					active_h = "1024";
					readout_orientation = "0";
					line_length = "2400";	/* 4 x HMAX: 1H = line_length / pix_clk_hz */
					inherent_gain = "1";
					pix_clk_hz = "297000000";	/* 4 x 74.25 MHz, >= peak pixel rate */
					gain_factor = "10";
					min_gain_val = "0";
					max_gain_val = "480";	/* 48.0 dB */
					step_gain_val = "1";
					default_gain = "0";
					min_hdr_ratio = "1";
					max_hdr_ratio = "1";
					framerate_factor = "1000000";
					min_framerate = "1000000";
					max_framerate = "60000000";
					step_framerate = "1";
					default_framerate = "30000000";
					exposure_factor = "1000000";
					min_exp_time = "10";
					max_exp_time = "15000";
					step_exp_time = "1";
					default_exp_time = "5000";
					embedded_metadata_height = "0";
				};
				mode1 {	/* 2448x2048 RAW12 (mono, read as Y12) */
					mclk_khz = "74250";
					num_lanes = "4";
					tegra_sinterface = "serial_g";
					vc_id = "0";
					discontinuous_clk = "no";
					dpcm_enable = "false";
					cil_settletime = "0";
					dynamic_pixel_bit_depth = "12";
					csi_pixel_bit_depth = "12";
					mode_type = "bayer";
					pixel_phase = "rggb";	/* mono sensor: no CFA, ISP not used */
					active_w = "2448";
					active_h = "2048";
					readout_orientation = "0";
					line_length = "4400";	/* 4 x HMAX: 1H = line_length / pix_clk_hz */
					inherent_gain = "1";
					pix_clk_hz = "297000000";	/* 4 x 74.25 MHz, >= peak pixel rate */
					gain_factor = "10";
					min_gain_val = "0";
					max_gain_val = "480";	/* 48.0 dB */
					step_gain_val = "1";
					default_gain = "0";
					min_hdr_ratio = "1";
					max_hdr_ratio = "1";
					framerate_factor = "1000000";
					min_framerate = "1000000";
					max_framerate = "30000000";
					step_framerate = "1";
					default_framerate = "30000000";
					exposure_factor = "1000000";
					min_exp_time = "10";
					max_exp_time = "30000";
					step_exp_time = "1";
					default_exp_time = "5000";
					embedded_metadata_height = "0";
				};

				ports {
					#address-cells = <1>;
					#size-cells = <0>;
					port@0 {
						reg = <0>;
						imx568_out6: endpoint {
							vc-id = <0>;		/* set by the FPGA aggregator */
							port-index = <6>;
							bus-width = <4>;
							remote-endpoint = <&imx568_csi_in6>;
						};
					};
				};
			};

			imx568_7: imx568_r@3d {	/* stereo 3 right */
				compatible = "sony,imx568";
				reg = <0x3d>;		/* SLAMODE = 7 (DS 14.4); never use 0x1a here */
				devnode = "video7";
				physical_w = "6.708";
				physical_h = "5.612";
				sensor_model = "imx568";
				use_sensor_mode_id = "true";
				post_crop_frame_drop = "0";
				vdd-stereo-supply = <&vdd_stereo3>;	/* shared with the other sensor */
				status-gpios = <&cam_exp 11 GPIO_ACTIVE_HIGH>;	/* TCA6416A P13 */
				imx568,ready-timeout-ms = <200>;
				imx568,sync-mode = "fast-trigger";	/* or "master" for bring-up */

				mode0 {	/* 1224x1024 RAW12 (mono, read as Y12) */
					mclk_khz = "74250";
					num_lanes = "4";
					tegra_sinterface = "serial_g";
					vc_id = "1";
					discontinuous_clk = "no";
					dpcm_enable = "false";
					cil_settletime = "0";
					dynamic_pixel_bit_depth = "12";
					csi_pixel_bit_depth = "12";
					mode_type = "bayer";
					pixel_phase = "rggb";	/* mono sensor: no CFA, ISP not used */
					active_w = "1224";
					active_h = "1024";
					readout_orientation = "0";
					line_length = "2400";	/* 4 x HMAX: 1H = line_length / pix_clk_hz */
					inherent_gain = "1";
					pix_clk_hz = "297000000";	/* 4 x 74.25 MHz, >= peak pixel rate */
					gain_factor = "10";
					min_gain_val = "0";
					max_gain_val = "480";	/* 48.0 dB */
					step_gain_val = "1";
					default_gain = "0";
					min_hdr_ratio = "1";
					max_hdr_ratio = "1";
					framerate_factor = "1000000";
					min_framerate = "1000000";
					max_framerate = "60000000";
					step_framerate = "1";
					default_framerate = "30000000";
					exposure_factor = "1000000";
					min_exp_time = "10";
					max_exp_time = "15000";
					step_exp_time = "1";
					default_exp_time = "5000";
					embedded_metadata_height = "0";
				};
				mode1 {	/* 2448x2048 RAW12 (mono, read as Y12) */
					mclk_khz = "74250";
					num_lanes = "4";
					tegra_sinterface = "serial_g";
					vc_id = "1";
					discontinuous_clk = "no";
					dpcm_enable = "false";
					cil_settletime = "0";
					dynamic_pixel_bit_depth = "12";
					csi_pixel_bit_depth = "12";
					mode_type = "bayer";
					pixel_phase = "rggb";	/* mono sensor: no CFA, ISP not used */
					active_w = "2448";
					active_h = "2048";
					readout_orientation = "0";
					line_length = "4400";	/* 4 x HMAX: 1H = line_length / pix_clk_hz */
					inherent_gain = "1";
					pix_clk_hz = "297000000";	/* 4 x 74.25 MHz, >= peak pixel rate */
					gain_factor = "10";
					min_gain_val = "0";
					max_gain_val = "480";	/* 48.0 dB */
					step_gain_val = "1";
					default_gain = "0";
					min_hdr_ratio = "1";
					max_hdr_ratio = "1";
					framerate_factor = "1000000";
					min_framerate = "1000000";
					max_framerate = "30000000";
					step_framerate = "1";
					default_framerate = "30000000";
					exposure_factor = "1000000";
					min_exp_time = "10";
					max_exp_time = "30000";
					step_exp_time = "1";
					default_exp_time = "5000";
					embedded_metadata_height = "0";
				};

				ports {
					#address-cells = <1>;
					#size-cells = <0>;
					port@0 {
						reg = <0>;
						imx568_out7: endpoint {
							vc-id = <1>;		/* set by the FPGA aggregator */
							port-index = <6>;
							bus-width = <4>;
							remote-endpoint = <&imx568_csi_in7>;
						};
					};
				};
			};
		};
		};
	};

	tegra-camera-platform {
		compatible = "nvidia, tegra-camera-platform";
		num_csi_lanes = <16>;
		max_lane_speed = <1500000>;
		min_bits_per_pixel = <12>;
		vi_peak_byte_per_pixel = <2>;
		vi_bw_margin_pct = <25>;
		max_pixel_rate = <2400000>;
		isp_peak_byte_per_pixel = <5>;
		isp_bw_margin_pct = <25>;
		modules {
			module0 {
				badge = "imx568_front_left";
				position = "front";
				orientation = "1";
				drivernode0 {
					pcl_id = "v4l2_sensor";
					devname = "imx568 30-0036";
					proc-device-tree = "/proc/device-tree/i2c@3180000/tca9546@70/i2c@0/imx568_l@36";
				};
			};
			module1 {
				badge = "imx568_front_right";
				position = "rear";
				orientation = "1";
				drivernode0 {
					pcl_id = "v4l2_sensor";
					devname = "imx568 30-003d";
					proc-device-tree = "/proc/device-tree/i2c@3180000/tca9546@70/i2c@0/imx568_r@3d";
				};
			};
			module2 {
				badge = "imx568_rear_left";
				position = "topleft";
				orientation = "1";
				drivernode0 {
					pcl_id = "v4l2_sensor";
					devname = "imx568 31-0036";
					proc-device-tree = "/proc/device-tree/i2c@3180000/tca9546@70/i2c@1/imx568_l@36";
				};
			};
			module3 {
				badge = "imx568_rear_right";
				position = "topright";
				orientation = "1";
				drivernode0 {
					pcl_id = "v4l2_sensor";
					devname = "imx568 31-003d";
					proc-device-tree = "/proc/device-tree/i2c@3180000/tca9546@70/i2c@1/imx568_r@3d";
				};
			};
			module4 {
				badge = "imx568_left_left";
				position = "bottomleft";
				orientation = "1";
				drivernode0 {
					pcl_id = "v4l2_sensor";
					devname = "imx568 32-0036";
					proc-device-tree = "/proc/device-tree/i2c@3180000/tca9546@70/i2c@2/imx568_l@36";
				};
			};
			module5 {
				badge = "imx568_left_right";
				position = "bottomright";
				orientation = "1";
				drivernode0 {
					pcl_id = "v4l2_sensor";
					devname = "imx568 32-003d";
					proc-device-tree = "/proc/device-tree/i2c@3180000/tca9546@70/i2c@2/imx568_r@3d";
				};
			};
			module6 {
				badge = "imx568_right_left";
				position = "centerleft";
				orientation = "1";
				drivernode0 {
					pcl_id = "v4l2_sensor";
					devname = "imx568 33-0036";
					proc-device-tree = "/proc/device-tree/i2c@3180000/tca9546@70/i2c@3/imx568_l@36";
				};
			};
			module7 {
				badge = "imx568_right_right";
				position = "centerright";
				orientation = "1";
				drivernode0 {
					pcl_id = "v4l2_sensor";
					devname = "imx568 33-003d";
					proc-device-tree = "/proc/device-tree/i2c@3180000/tca9546@70/i2c@3/imx568_r@3d";
				};
			};
		};
	};
};
